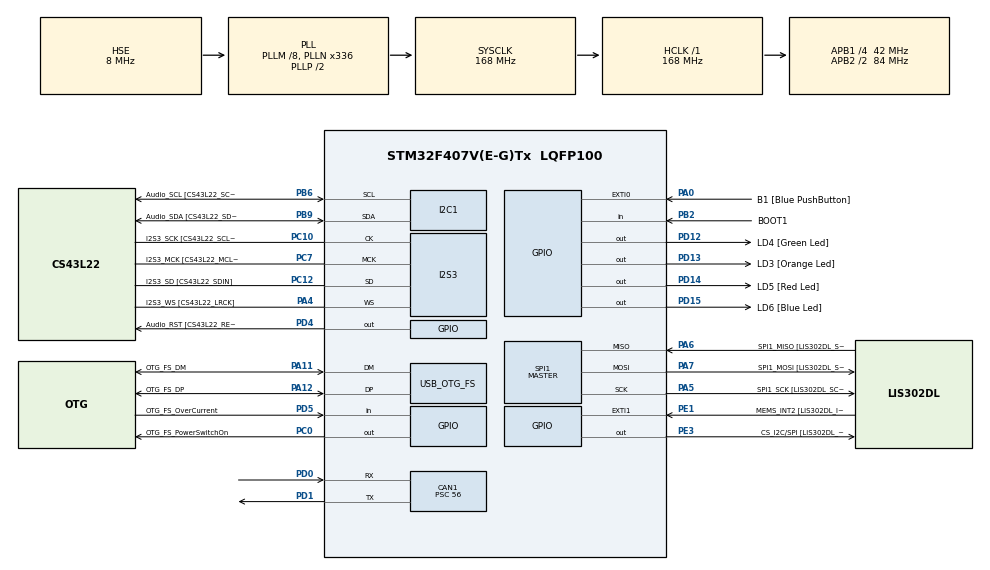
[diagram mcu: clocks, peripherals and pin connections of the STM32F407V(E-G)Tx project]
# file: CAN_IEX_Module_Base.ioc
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CAN1.BS1=CAN_BS1_12TQ
CAN1.BS2=CAN_BS2_2TQ
CAN1.CalculateBaudRate=49999
CAN1.CalculateTimeBit=20000
CAN1.CalculateTimeQuantum=1333.3333333333335
CAN1.Prescaler=56
I2S3.AudioFreq-Half_Duplex_Master=I2S_AUDIOFREQ_96K
I2S3.ErrorAudioFreq=-2.34 %
I2S3.ErrorAudioFreq-Half_Duplex_Master=0.8 %
I2S3.FullDuplexMode=I2S_FULLDUPLEXMODE_DISABLE
I2S3.Instance=SPI$Index
I2S3.RealAudioFreq=93.75 KHz
I2S3.RealAudioFreq-Half_Duplex_Master=96.774 KHz
I2S3.VirtualMode=I2S_MODE_MASTER
Mcu.Family=STM32F4
Mcu.Name=STM32F407V(E-G)Tx
Mcu.Package=LQFP100
NVIC.OTG_FS_IRQn=true\:0\:0\:false\:false\:true\:true\:true\:true
NVIC.PriorityGroup=NVIC_PRIORITYGROUP_0
PA0-WKUP.GPIO_Label=B1 [Blue PushButton]
PA0-WKUP.GPIO_ModeDefaultEXTI=GPIO_MODE_EVT_RISING
PA0-WKUP.GPIO_PuPd=GPIO_NOPULL
PA0-WKUP.Signal=GPXTI0
PA10.GPIO_Label=OTG_FS_ID
PA10.GPIO_Mode=GPIO_MODE_AF_PP
PA10.GPIO_PuPd=GPIO_NOPULL
PA10.GPIO_Speed=GPIO_SPEED_FREQ_LOW
PA10.Signal=USB_OTG_FS_ID
PA11.GPIO_Label=OTG_FS_DM
PA11.GPIO_Mode=GPIO_MODE_AF_PP
PA11.GPIO_PuPd=GPIO_NOPULL
PA11.GPIO_Speed=GPIO_SPEED_FREQ_LOW
PA11.Mode=Device_Only
PA11.Signal=USB_OTG_FS_DM
PA12.GPIO_Label=OTG_FS_DP
PA12.GPIO_Mode=GPIO_MODE_AF_PP
PA12.GPIO_PuPd=GPIO_NOPULL
PA12.GPIO_Speed=GPIO_SPEED_FREQ_LOW
PA12.Mode=Device_Only
PA12.Signal=USB_OTG_FS_DP
PA13.GPIO_Label=SWDIO
PA13.Mode=Serial_Wire
PA13.Signal=SYS_JTMS-SWDIO
PA14.GPIO_Label=SWCLK
PA14.Mode=Serial_Wire
PA14.Signal=SYS_JTCK-SWCLK
PA4.GPIO_Label=I2S3_WS [CS43L22_LRCK]
PA4.GPIO_Mode=GPIO_MODE_AF_PP
PA4.GPIO_PuPd=GPIO_NOPULL
PA4.GPIO_Speed=GPIO_SPEED_FREQ_LOW
PA4.Mode=Half_Duplex_Master
PA4.Signal=I2S3_WS
PA5.GPIO_Label=SPI1_SCK [LIS302DL_SCL/SPC]
PA5.GPIO_Mode=GPIO_MODE_AF_PP
PA5.GPIO_PuPd=GPIO_NOPULL
PA5.GPIO_Speed=GPIO_SPEED_FREQ_LOW
PA5.Mode=Full_Duplex_Master
PA5.Signal=SPI1_SCK
PA6.GPIO_Label=SPI1_MISO [LIS302DL_SDO]
PA6.GPIO_Mode=GPIO_MODE_AF_PP
PA6.GPIO_PuPd=GPIO_NOPULL
PA6.GPIO_Speed=GPIO_SPEED_FREQ_LOW
PA6.Mode=Full_Duplex_Master
PA6.Signal=SPI1_MISO
PA7.GPIO_Label=SPI1_MOSI [LIS302DL_SDA/SDI/SDO]
PA7.GPIO_Mode=GPIO_MODE_AF_PP
PA7.GPIO_PuPd=GPIO_NOPULL
PA7.GPIO_Speed=GPIO_SPEED_FREQ_LOW
PA7.Mode=Full_Duplex_Master
PA7.Signal=SPI1_MOSI
PA9.GPIO_Label=VBUS_FS
PA9.GPIO_Mode=GPIO_MODE_INPUT
PA9.GPIO_PuPd=GPIO_NOPULL
PA9.Signal=USB_OTG_FS_VBUS
PB10.GPIO_Label=CLK_IN [MP45DT02_CLK]
PB10.GPIO_Mode=GPIO_MODE_AF_PP
PB10.GPIO_PuPd=GPIO_NOPULL
PB10.GPIO_Speed=GPIO_SPEED_FREQ_LOW
PB10.Signal=I2S2_CK
PB2.GPIO_Label=BOOT1
PB2.GPIO_Mode=GPIO_MODE_INPUT
PB2.GPIO_PuPd=GPIO_NOPULL
PB2.Signal=GPIO_Input
PB3.GPIO_Label=SWO
PB3.Signal=SYS_JTDO-SWO
PB6.GPIO_Label=Audio_SCL [CS43L22_SCL]
PB6.GPIO_Mode=GPIO_MODE_AF_OD
PB6.GPIO_Pu=GPIO_PULLUP
PB6.GPIO_PuPd=GPIO_NOPULL
PB6.GPIO_Speed=GPIO_SPEED_FREQ_LOW
PB6.Mode=I2C
PB6.Signal=I2C1_SCL
PB9.GPIO_Label=Audio_SDA [CS43L22_SDA]
PB9.GPIO_Mode=GPIO_MODE_AF_OD
PB9.GPIO_Pu=GPIO_PULLUP
PB9.GPIO_PuPd=GPIO_NOPULL
PB9.GPIO_Speed=GPIO_SPEED_FREQ_LOW
PB9.Mode=I2C
PB9.Signal=I2C1_SDA
PC0.GPIO_Label=OTG_FS_PowerSwitchOn
PC0.GPIO_PuPd=GPIO_NOPULL
PC0.GPIO_Speed=GPIO_SPEED_FREQ_LOW
PC0.PinState=GPIO_PIN_SET
PC0.Signal=GPIO_Output
PC10.GPIO_Label=I2S3_SCK [CS43L22_SCLK]
PC10.GPIO_Mode=GPIO_MODE_AF_PP
PC10.GPIO_PuPd=GPIO_NOPULL
PC10.GPIO_Speed=GPIO_SPEED_FREQ_LOW
PC10.Mode=Half_Duplex_Master
PC10.Signal=I2S3_CK
PC12.GPIO_Label=I2S3_SD [CS43L22_SDIN]
PC12.GPIO_Mode=GPIO_MODE_AF_PP
PC12.GPIO_PuPd=GPIO_NOPULL
PC12.GPIO_Speed=GPIO_SPEED_FREQ_LOW
PC12.Mode=Half_Duplex_Master
PC12.Signal=I2S3_SD
PC14-OSC32_IN.GPIO_Label=PC14-OSC32_IN
PC14-OSC32_IN.Mode=LSE-External-Oscillator
PC14-OSC32_IN.Signal=RCC_OSC32_IN
PC15-OSC32_OUT.GPIO_Label=PC15-OSC32_OUT
PC15-OSC32_OUT.Mode=LSE-External-Oscillator
PC15-OSC32_OUT.Signal=RCC_OSC32_OUT
PC3.GPIO_Label=PDM_OUT [MP45DT02_DOUT]
PC3.GPIO_Mode=GPIO_MODE_AF_PP
PC3.GPIO_PuPd=GPIO_NOPULL
PC3.GPIO_Speed=GPIO_SPEED_FREQ_LOW
PC3.Signal=I2S2_SD
PC7.GPIO_Label=I2S3_MCK [CS43L22_MCLK]
PC7.GPIO_Mode=GPIO_MODE_AF_PP
PC7.GPIO_PuPd=GPIO_NOPULL
PC7.GPIO_Speed=GPIO_SPEED_FREQ_LOW
PC7.Mode=Master_Clock_Activated
PC7.Signal=I2S3_MCK
PD0.Mode=CAN_Activate
PD0.Signal=CAN1_RX
PD1.Mode=CAN_Activate
PD1.Signal=CAN1_TX
PD12.GPIO_Label=LD4 [Green Led]
PD12.GPIO_PuPd=GPIO_NOPULL
PD12.GPIO_Speed=GPIO_SPEED_FREQ_LOW
PD12.Signal=GPIO_Output
PD13.GPIO_Label=LD3 [Orange Led]
PD13.GPIO_PuPd=GPIO_NOPULL
PD13.GPIO_Speed=GPIO_SPEED_FREQ_LOW
PD13.Signal=GPIO_Output
PD14.GPIO_Label=LD5 [Red Led]
PD14.GPIO_PuPd=GPIO_NOPULL
PD14.GPIO_Speed=GPIO_SPEED_FREQ_LOW
PD14.Signal=GPIO_Output
PD15.GPIO_Label=LD6 [Blue Led]
PD15.GPIO_PuPd=GPIO_NOPULL
PD15.GPIO_Speed=GPIO_SPEED_FREQ_LOW
PD15.Signal=GPIO_Output
PD4.GPIO_Label=Audio_RST [CS43L22_RESET]
PD4.GPIO_PuPd=GPIO_NOPULL
PD4.GPIO_Speed=GPIO_SPEED_FREQ_LOW
PD4.Signal=GPIO_Output
PD5.GPIO_Label=OTG_FS_OverCurrent
PD5.GPIO_Mode=GPIO_MODE_INPUT
PD5.GPIO_PuPd=GPIO_NOPULL
PD5.Signal=GPIO_Input
PE1.GPIO_Label=MEMS_INT2 [LIS302DL_INT2]
PE1.GPIO_ModeDefaultEXTI=GPIO_MODE_EVT_RISING
PE1.GPIO_PuPd=GPIO_NOPULL
PE1.Signal=GPXTI1
PE3.GPIO_Label=CS_I2C/SPI [LIS302DL_CS_I2C/SPI]
PE3.GPIO_PuPd=GPIO_NOPULL
PE3.GPIO_Speed=GPIO_SPEED_FREQ_LOW
PE3.Signal=GPIO_Output
PH0-OSC_IN.GPIO_Label=PH0-OSC_IN
PH0-OSC_IN.Mode=HSE-External-Oscillator
PH0-OSC_IN.Signal=RCC_OSC_IN
PH1-OSC_OUT.GPIO_Label=PH1-OSC_OUT
PH1-OSC_OUT.Mode=HSE-External-Oscillator
PH1-OSC_OUT.Signal=RCC_OSC_OUT
ProjectManager.HeapSize=0x200
ProjectManager.StackSize=0x400
ProjectManager.TargetToolchain=STM32CubeIDE
RCC.48MHZClocksFreq_Value=48000000
RCC.AHBFreq_Value=168000000
RCC.APB1CLKDivider=RCC_HCLK_DIV4
RCC.APB1Freq_Value=42000000
RCC.APB1TimFreq_Value=84000000
RCC.APB2CLKDivider=RCC_HCLK_DIV2
RCC.APB2Freq_Value=84000000
RCC.APB2TimFreq_Value=168000000
RCC.CortexFreq_Value=168000000
RCC.HCLKFreq_Value=168000000
RCC.HSE_VALUE=8000000
RCC.HSI_VALUE=16000000
RCC.PLLM=8
RCC.PLLN=336
RCC.PLLQ=7
RCC.SYSCLKFreq_VALUE=168000000
RCC.SYSCLKSource=RCC_SYSCLKSOURCE_PLLCLK
RCC.VCOOutputFreq_Value=336000000
SPI1.BaudRatePrescaler-Full_Duplex_Master=SPI_BAUDRATEPRESCALER_2
SPI1.CalculateBaudRate-Full_Duplex_Master=42.0 MBits/s
SPI1.Direction=SPI_DIRECTION_2LINES
SPI1.Mode=SPI_MODE_MASTER
SPI1.Mode-Full_Duplex_Master=SPI_MODE_MASTER
SPI1.VirtualType=VM_MASTER
USB_DEVICE.CLASS_NAME_FS=CDC
USB_DEVICE.VirtualMode-CDC_FS=Cdc
USB_DEVICE.VirtualModeFS=Cdc_FS
USB_OTG_FS.VirtualMode=Device_Only
VP_USB_DEVICE_VS_USB_DEVICE_CDC_FS.Mode=CDC_FS
board=STM32F407G-DISC1

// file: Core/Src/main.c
/* USER CODE BEGIN Header */
/**
  ******************************************************************************
  * @file           : main.c
  * @brief          : Main program body
  ******************************************************************************
  * @attention
  *
  * <h2><center>&copy; Copyright (c) 2021 STMicroelectronics.
  * All rights reserved.</center></h2>
  *
  * This software component is licensed by ST under Ultimate Liberty license
  * SLA0044, the "License"; You may not use this file except in compliance with
  * the License. You may obtain a copy of the License at:
  *                             www.st.com/SLA0044
  *
  ******************************************************************************
  */
/* USER CODE END Header */
#include "main.h"
#include "can.h"
#include "i2c.h"
#include "i2s.h"
#include "spi.h"
#include "usb_device.h"
#include "gpio.h"

/* USER CODE BEGIN Includes */
#include "usbd_cdc_if.h"
#include "main.h"
#include "iex.h"

#include "stm32f4xx_hal_can.h"

/* USER CODE END Includes */

/* USER CODE BEGIN PV */
uint8_t TXbuffer[256]="\nHello World!\0";
uint8_t RXbuffer[256];
volatile uint8_t RXbufferStrLen=0;
uint8_t Cmdbuffer[256];
uint8_t CmdbufferPos=0;

uint32_t CanMsgCnt = 0;

uint8_t KeyState=0;
uint8_t printf_buf[256];

extern volatile APP_DEBUG AppDebug;

//IX_system_data command id for sending onbus status
volatile unsigned long status_id = NAD_default +IEX2_ID_SEND_ONBUS_STATUS;
volatile unsigned char status_data[4] = {0,0,0,IEX2_CYM_ID_V1};

// IX_data command id for sending input bits IX
volatile unsigned long 	IX_id = NAD_default + IEX2_ID_SEND_IX0_STATUS ;
volatile unsigned char IX_data[2] = {0, 0};

/* USER CODE END PV */

void SystemClock_Config(void);

int main(void)
{
  /* USER CODE BEGIN 1 */
    uint8_t CAN_Rx_Msg[8];
    CAN_RxHeaderTypeDef RxHeader;
    int ii, jj, pos, tempint;
    int8_t RetVal;
    char RXChar;

	uint32_t lastTime = 0U;
	uint32_t nowTime;

	uint8_t temp;

  /* USER CODE END 1 */

  /* MCU Configuration--------------------------------------------------------*/

  /* Reset of all peripherals, Initializes the Flash interface and the Systick. */
  HAL_Init();

  /* Configure the system clock */
  SystemClock_Config();

  /* Initialize all configured peripherals */
  MX_GPIO_Init();
  MX_I2C1_Init();
  MX_I2S3_Init();
  MX_SPI1_Init();
  MX_USB_DEVICE_Init();
  MX_CAN1_Init();
  /* USER CODE BEGIN 2 */

  CAN_SetAllFilter(&hcan1);

  HAL_CAN_Start(&hcan1);

  IEX_Init();

  KeyState = HAL_GPIO_ReadPin(GPIOA, GPIO_PIN_0);

  /* USER CODE END 2 */

  /* Infinite loop */
  /* USER CODE BEGIN WHILE */
  while (1)
  {

	  // Check USB VCOMPort Received characters
	  if (RXbufferStrLen > 0) {

		  for (ii=0;ii<RXbufferStrLen;ii++) {
			  RXChar = RXbuffer[ii];

			  if (RXChar == 13) {
				  Cmdbuffer[CmdbufferPos] = 0;

				  if ((Cmdbuffer[0]=='r') || (Cmdbuffer[0]=='R')) {
					  IEX_Init ();

	  			  } else if ( (Cmdbuffer[0]=='d') || (Cmdbuffer[0]=='D')) {
	  				AppDebug.CAN = atoi( &(Cmdbuffer[1]) );

	  			  } else if ( (Cmdbuffer[0]=='n') || (Cmdbuffer[0]=='N')) {
	  				CAN_NADFilter= atoi( &(Cmdbuffer[1]) );

	  			  } else if ( (Cmdbuffer[0]=='h') || (Cmdbuffer[0]=='H')) {
	  				pos = snprintf(TXbuffer,256,"CAN Sniffer Settings Debug:%d | NADFilt:%d \r\n d ... debug\r\n N ... NAD filter\r\n\ r ... reset\r\n h ... help\r\nExamples: d11, N10619, r, h.\r\n\r\n\0",AppDebug.CAN,CAN_NADFilter);
	  				CDC_Transmit_FS(TXbuffer,pos+1);

				  }
				  CmdbufferPos = 0;

			  } else {
				  Cmdbuffer[CmdbufferPos++] = RXChar;
			  }

		  }

//		  pos = snprintf(TXbuffer,256,"USB Msg Received: %s \r\n\0",RXbuffer);
//		  CDC_Transmit_FS(TXbuffer,pos+1);
		  RXbufferStrLen = 0;
	  }

    /* USER CODE END WHILE */

    /* USER CODE BEGIN 3 */

	  //  Check for received CANBUS messages
      if(HAL_CAN_GetRxFifoFillLevel(&hcan1, CAN_RX_FIFO0) != 0)
      {
          HAL_CAN_GetRxMessage(&hcan1, CAN_RX_FIFO0, &RxHeader, CAN_Rx_Msg);
		  CanMsgCnt++;

          if (RxHeader.IDE) {
              CANBus_Parse_RX_Message (RxHeader.ExtId,RxHeader.DLC, CAN_Rx_Msg);

//          } else {
//              CANBus_Parse_RX_Message (RxHeader.StdId,RxHeader.DLC, CAN_Rx_Msg);

          }

          if  ( ( AppDebug.CAN & 8 )  && (RxHeader.DLC > 0) &&   // only non-zero length messages (disregard baudsync messages)
        		  	  ( CAN_NADFilter == 0 ||
        		  			  	  ( CAN_NADFilter != 0 && (CAN_NADFilter == (RxHeader.ExtId & 0x1FFFFF) && RxHeader.IDE) || (CAN_NADFilter == (RxHeader.StdId & 0x7FF) && !RxHeader.IDE))  )
			   ) { // Debug RAW RX messages
				if (RxHeader.IDE)  {
				  pos = sprintf(TXbuffer,"Can Msg EXT[%d]: Cmd:0x%02x NAD:%7d [CAN_ID=0x%08x]: LEN=%d ",CanMsgCnt,(RxHeader.ExtId>>21),(RxHeader.ExtId & 0x1FFFFF), RxHeader.ExtId, RxHeader.DLC);

				} else {
				  pos = sprintf(TXbuffer,"Can Msg STD[%d]: ID=%4d [0x%3x] : LEN=%d ",CanMsgCnt,RxHeader.StdId, RxHeader.StdId, RxHeader.DLC);
				}

				for (ii=0;ii<RxHeader.DLC;ii++) {
					  tempint = sprintf(TXbuffer+pos,"|%02x",CAN_Rx_Msg[ii]);
					  pos += tempint;
				}
				sprintf(TXbuffer+pos,"\r\n\r\n");
				CDC_Transmit_FS(TXbuffer,strlen(TXbuffer));
          }

      }

  	 // Send Status/Info message every 0.5 second
     nowTime = HAL_GetTick();

 	 if ((nowTime - lastTime) >= 500) {

 		CANBus_Send(status_id, status_data, 4, 0, 0);
		IX_data[0]=temp;
	 	CANBus_Send(IX_id, IX_data, 1, 0, 0);

 	     lastTime = nowTime;
 	 }

 	 // Check USER Key state
 	 temp = HAL_GPIO_ReadPin(GPIOA, GPIO_PIN_0);

	 if (temp != KeyState) {   // Key state changed !!! - send as IX message
			// TODO: Do simple debounce and send inputs state if anything changes
	 }

  }
  /* USER CODE END 3 */
}

void SystemClock_Config(void)
{
  RCC_OscInitTypeDef RCC_OscInitStruct = {0};
  RCC_ClkInitTypeDef RCC_ClkInitStruct = {0};

  /** Configure the main internal regulator output voltage
  */
  __HAL_RCC_PWR_CLK_ENABLE();
  __HAL_PWR_VOLTAGESCALING_CONFIG(PWR_REGULATOR_VOLTAGE_SCALE1);

  /** Initializes the RCC Oscillators according to the specified parameters
  * in the RCC_OscInitTypeDef structure.
  */
  RCC_OscInitStruct.OscillatorType = RCC_OSCILLATORTYPE_HSE;
  RCC_OscInitStruct.HSEState = RCC_HSE_ON;
  RCC_OscInitStruct.PLL.PLLState = RCC_PLL_ON;
  RCC_OscInitStruct.PLL.PLLSource = RCC_PLLSOURCE_HSE;
  RCC_OscInitStruct.PLL.PLLM = 8;
  RCC_OscInitStruct.PLL.PLLN = 336;
  RCC_OscInitStruct.PLL.PLLP = RCC_PLLP_DIV2;
  RCC_OscInitStruct.PLL.PLLQ = 7;
  if (HAL_RCC_OscConfig(&RCC_OscInitStruct) != HAL_OK)
  {
    Error_Handler();
  }

  /** Initializes the CPU, AHB and APB buses clocks
  */
  RCC_ClkInitStruct.ClockType = RCC_CLOCKTYPE_HCLK|RCC_CLOCKTYPE_SYSCLK
                              |RCC_CLOCKTYPE_PCLK1|RCC_CLOCKTYPE_PCLK2;
  RCC_ClkInitStruct.SYSCLKSource = RCC_SYSCLKSOURCE_PLLCLK;
  RCC_ClkInitStruct.AHBCLKDivider = RCC_SYSCLK_DIV1;
  RCC_ClkInitStruct.APB1CLKDivider = RCC_HCLK_DIV4;
  RCC_ClkInitStruct.APB2CLKDivider = RCC_HCLK_DIV2;

  if (HAL_RCC_ClockConfig(&RCC_ClkInitStruct, FLASH_LATENCY_5) != HAL_OK)
  {
    Error_Handler();
  }
}

void Error_Handler(void)
{
  __disable_irq();
  while (1)
  {
  }
}
